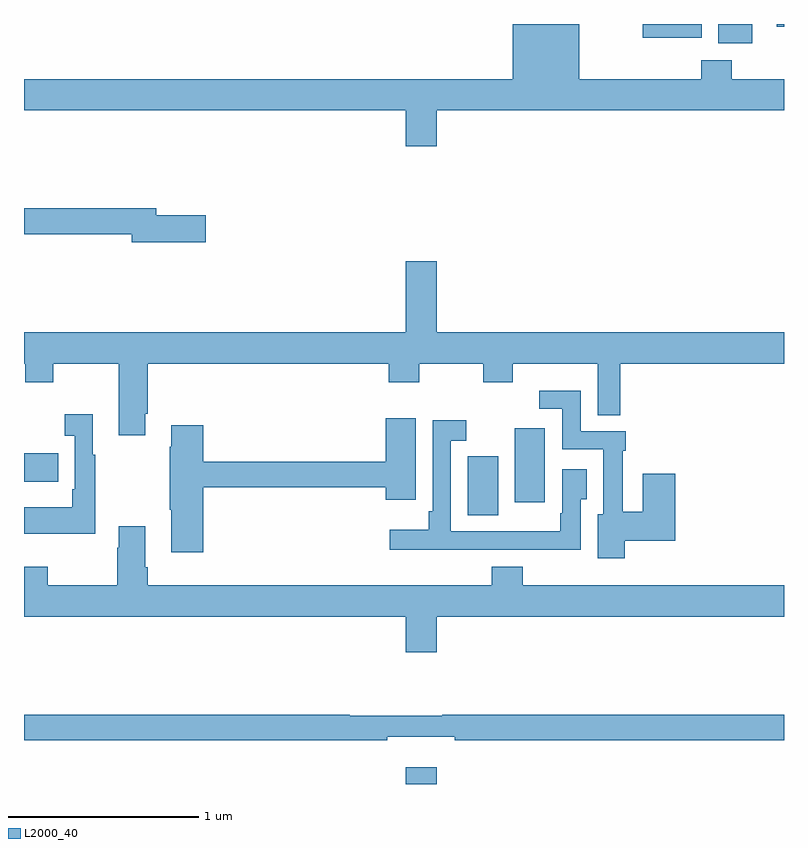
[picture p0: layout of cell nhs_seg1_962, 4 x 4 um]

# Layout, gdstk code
import gdstk
lib = gdstk.Library(unit=1e-6, precision=1e-09)
def R(c, l, rs):  # rectangles x0, y0, x1, y1
    for r in rs: c.add(gdstk.rectangle(r[:2], r[2:], *l))
def P(c, l, *ps):  # polygons
    for p in ps: c.add(gdstk.Polygon(p, *l))
L2000_40 = (2000, 40)

nhs_seg1_962 = lib.new_cell('nhs_seg1_962')
R(nhs_seg1_962, L2000_40, [(165.008,536.199,165.172,536.287), (165.335,537.613,165.496,537.924), (165.584,537.683,165.742,538.072), (163,537.791,163.181,537.939), (166.655,540.098,166.834,540.199), (166.257,540.127,166.566,540.199), (166.962,540.184,167,540.199)])
P(nhs_seg1_962, L2000_40, [(165.172,539.744),(167,539.744),(167,539.908),(166.725,539.908),(166.725,540.007),(166.565,540.007),(166.565,539.908),(165.922,539.908),(165.922,540.199),(165.572,540.199),(165.572,539.908),(163,539.908),(163,539.744),(165.008,539.744),(165.008,539.556),(165.172,539.556)],
  [(163.957,539.192),(163.696,539.192),(163.696,539.228),(163,539.228),(163,539.092),(163.568,539.092),(163.568,539.05),(163.957,539.05)],
  [(163.639,538.147),(163.652,538.147),(163.652,538.412),(164.921,538.412),(164.921,538.313),(165.081,538.313),(165.081,538.412),(165.418,538.412),(165.418,538.313),(165.573,538.313),(165.573,538.412),(166.019,538.412),(166.019,538.141),(166.138,538.141),(166.138,538.412),(167,538.412),(167,538.576),(165.172,538.576),(165.172,538.951),(165.008,538.951),(165.008,538.576),(163,538.576),(163,538.412),(163.007,538.412),(163.007,538.313),(163.155,538.313),(163.155,538.412),(163.499,538.412),(163.499,538.035),(163.639,538.035)],
  [(166.163,537.479),(166.427,537.479),(166.427,537.832),(166.256,537.832),(166.256,537.632),(166.15,537.632),(166.15,537.953),(166.168,537.953),(166.168,538.056),(165.93,538.056),(165.93,538.27),(165.711,538.27),(165.711,538.173),(165.834,538.173),(165.834,537.96),(166.049,537.96),(166.049,537.619),(166.019,537.619),(166.019,537.387),(166.163,537.387)],
  [(163.375,537.931),(163.363,537.931),(163.363,538.144),(163.215,538.144),(163.215,538.031),(163.266,538.031),(163.266,537.751),(163.254,537.751),(163.254,537.655),(163,537.655),(163,537.515),(163.375,537.515)],
  [(163.943,537.76),(164.903,537.76),(164.903,537.696),(165.061,537.696),(165.061,538.123),(164.903,538.123),(164.903,537.896),(163.943,537.896),(163.943,538.087),(163.775,538.087),(163.775,537.974),(163.768,537.974),(163.768,537.643),(163.775,537.643),(163.775,537.42),(163.943,537.42)],
  [(165.343,537.432),(165.709,537.432),(165.709,537.431),(165.93,537.431),(165.93,537.697),(165.961,537.697),(165.961,537.856),(165.834,537.856),(165.834,537.625),(165.822,537.625),(165.822,537.529),(165.592,537.529),(165.592,537.528),(165.246,537.528),(165.246,538.005),(165.328,538.005),(165.328,538.114),(165.15,538.114),(165.15,537.634),(165.13,537.634),(165.13,537.538),(164.925,537.538),(164.925,537.431),(165.343,537.431)],
  [(165.172,537.08),(167,537.08),(167,537.244),(165.626,537.244),(165.626,537.343),(165.461,537.343),(165.461,537.244),(163.652,537.244),(163.652,537.34),(163.639,537.34),(163.639,537.556),(163.499,537.556),(163.499,537.443),(163.492,537.443),(163.492,537.244),(163.125,537.244),(163.125,537.343),(163,537.343),(163,537.08),(165.008,537.08),(165.008,536.892),(165.172,536.892)],
  [(164.912,536.447),(165.268,536.447),(165.268,536.428),(167,536.428),(167,536.564),(165.201,536.564),(165.201,536.557),(164.714,536.557),(164.714,536.564),(163,536.564),(163,536.428),(164.912,536.428)])

lib.write_gds('nhs_seg1_962.gds')
